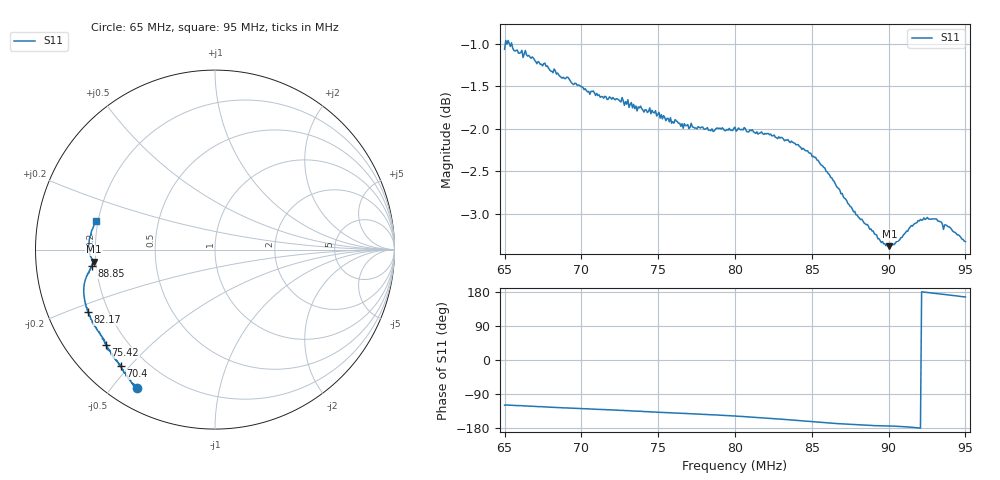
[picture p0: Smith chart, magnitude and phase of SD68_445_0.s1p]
! NanoVNA-App
! Date: 2025-08-09 16:33:16
! Start: 65MHz Stop: 95MHz Points: 401
! S-Parameter data: F S11
# Hz S RI R 50
!  Frequency  S11_Real  S11_Imag
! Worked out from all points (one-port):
!   401 points, 65 MHz to 95 MHz, reference 50 ohm
!   lowest |S11| = -3.4 dB at 90.05 MHz (marker M1), VSWR 5.20, Z = 9.63 - j2.43 ohm
!   |S11| at or under -10 dB: nowhere
!   S11 on the Smith chart (normalised r, x): 65 MHz: 0.08, -0.58; 70.4 MHz: 0.11, -0.47; 75.42 MHz: 0.12, -0.37; 82.17 MHz: 0.12, -0.23; 88.85 MHz: 0.18, -0.06; 95 MHz: 0.19, +0.12
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6.5e7  -0.4322 -0.7715
6.5225e7  -0.4306 -0.7846
6.5375e7  -0.4336 -0.7748
6.575e7  -0.4437 -0.7635
6.62e7  -0.4479 -0.7512
6.71e7  -0.4696 -0.7292
6.77e7  -0.4833 -0.7164
6.875e7  -0.4998 -0.6881
7.04e7  -0.5239 -0.65
7.25e7  -0.5625 -0.603
7.5425e7  -0.6074 -0.5308
7.625e7  -0.6153 -0.5142
7.85e7  -0.6467 -0.4609
8e7  -0.6724 -0.4259
8.2175e7  -0.7083 -0.3478
8.375e7  -0.7251 -0.287
8.54e7  -0.731 -0.2115
8.675e7  -0.7167 -0.1518
8.75e7  -0.7029 -0.1306
8.885e7  -0.6878 -0.089
8.93e7  -0.6797 -0.0802
9.005e7  -0.6741 -0.0681
9.065e7  -0.6799 -0.0589
9.125e7  -0.6901 -0.0426
9.215e7  -0.7017 0.000476
9.2975e7  -0.7012 0.0495
9.3875e7  -0.6884 0.1001
9.5e7  -0.6624 0.1614
